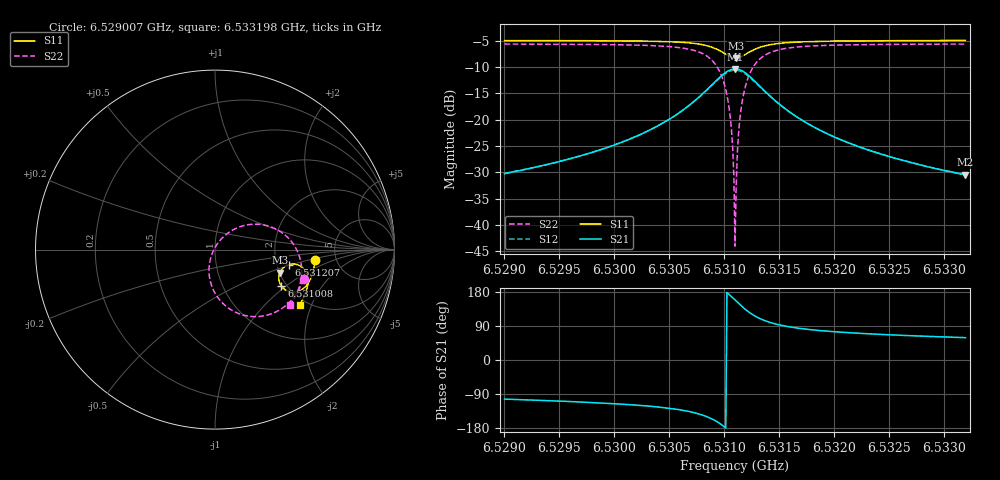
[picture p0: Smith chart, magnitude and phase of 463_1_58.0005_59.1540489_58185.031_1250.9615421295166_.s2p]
#  HZ  S  RI  R  50.00
! Rohde & Schwarz Vector Network Analyzer
! Rohde-Schwarz,ZNB20-2Port,1311601062101988,3.16
! Created: UTC 3/21/2024, 1:11:02 AM
! freq[Hz]  re:S11  im:S11  re:S21  im:S21  re:S12  im:S12  re:S22  im:S22
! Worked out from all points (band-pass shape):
!   401 points, 6.529007 GHz to 6.533198 GHz, reference 50 ohm
!   highest |S21| = -10.38 dB at 6.531102 GHz (marker M1); lowest = -30.5 dB at 6.533198 GHz (marker M2)
!   |S21| within 3 dB of the highest: 6.530894 GHz to 6.531314 GHz (419.9 kHz wide, 0.00643 % of centre)
!   lowest |S11| = -8.3 dB at 6.531113 GHz (marker M3), VSWR 2.25, Z = 101 - j30.2 ohm
!   |S11| at or under -10 dB: nowhere
!   |S22| runs from -44.0 to -5.7 dB; largest |S21 - S12| = 0.012
!   S11 on the Smith chart (normalised r, x): 6.529007 GHz: 3.44, -0.61; 6.531008 GHz: 1.87, -0.93; 6.531207 GHz: 2.34, -0.47; 6.533198 GHz: 1.82, -1.65
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6.5290065e9  0.5576 -0.0607  -0.00699 -0.0298  -0.00762 -0.0298  0.4939 -0.1641
6.5297086e9  0.5473 -0.1188  -0.0164 -0.0427  -0.0174 -0.0423  0.4636 -0.2292
6.5304106e9  0.5188 -0.1877  -0.0496 -0.0731  -0.0517 -0.0717  0.383 -0.3206
6.5308298e9  0.4486 -0.2366  -0.1559 -0.0984  -0.1582 -0.0923  0.1785 -0.3696
6.5309346e9  0.4046 -0.2313  -0.2245 -0.0724  -0.2239 -0.0634  0.0618 -0.316
6.5310079e9  0.3704 -0.2042  -0.2752 -0.0149  -0.2696 -0.00533  -0.0154 -0.2107
6.5310393e9  0.3601 -0.1844  -0.2885 0.0231  -0.2807 0.0315  -0.0319 -0.1451
6.5310603e9  0.3562 -0.1689  -0.2919 0.0518  -0.283 0.0589  -0.0329 -0.097
6.5310708e9  0.3555 -0.1608  -0.2915 0.0669  -0.2819 0.0731  -0.0299 -0.0724
6.5310813e9  0.3557 -0.1525  -0.2898 0.0819  -0.2797 0.0872  -0.0244 -0.0477
6.5310917e9  0.3568 -0.1441  -0.2863 0.097  -0.276 0.1013  -0.0166 -0.0238
6.5311022e9  0.3588 -0.1359  -0.2814 0.1114  -0.271 0.115  -0.00628 -0.000387
6.5311127e9  0.3617 -0.1279  -0.2751 0.1257  -0.2647 0.1282  0.00623 0.0219
6.5311232e9  0.3655 -0.1204  -0.2676 0.139  -0.2571 0.1405  0.0208 0.0426
6.5311336e9  0.37 -0.1134  -0.2588 0.1515  -0.2485 0.1521  0.0373 0.0619
6.5311546e9  0.3807 -0.101  -0.2382 0.1731  -0.2288 0.1722  0.0746 0.094
6.531207e9  0.4135 -0.083  -0.1786 0.2051  -0.1721 0.202  0.1783 0.1376
6.5312803e9  0.4557 -0.0833  -0.1041 0.2073  -0.1007 0.2042  0.3043 0.1291
6.5313851e9  0.4925 -0.1057  -0.0398 0.1766  -0.0383 0.1751  0.4095 0.0633
6.5318043e9  0.5179 -0.1855  0.0156 0.0854  0.0166 0.0851  0.4829 -0.1278
6.5325063e9  0.4981 -0.2566  0.0177 0.0409  0.0185 0.0407  0.4551 -0.2448
6.5331979e9  0.4712 -0.3081  0.0155 0.0256  0.016 0.0254  0.4204 -0.3062
